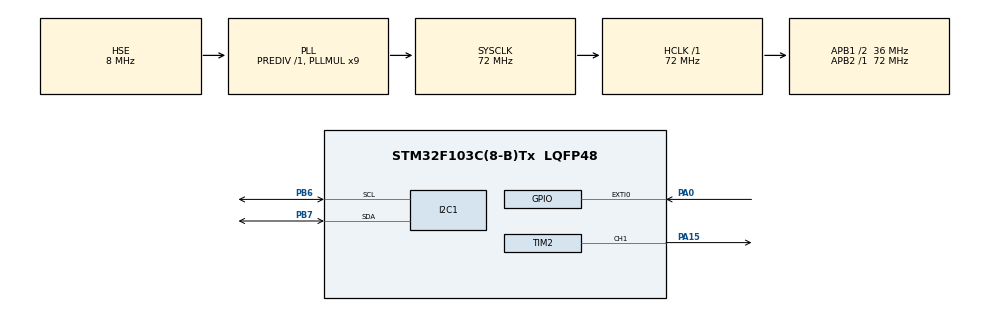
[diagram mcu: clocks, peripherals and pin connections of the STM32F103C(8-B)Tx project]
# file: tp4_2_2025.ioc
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Mcu.Family=STM32F1
RCC.PLLSourceVirtual=RCC_PLLSOURCE_HSE
PD1-OSC_OUT.Mode=HSE-External-Oscillator
NVIC.TIM1_UP_IRQn=true\:0\:0\:false\:false\:true\:false\:true
PD0-OSC_IN.Signal=RCC_OSC_IN
RCC.APB1CLKDivider=RCC_HCLK_DIV2
PA0-WKUP.GPIO_ModeDefaultEXTI=GPIO_MODE_IT_FALLING
RCC.SYSCLKSource=RCC_SYSCLKSOURCE_PLLCLK
ProjectManager.StackSize=0x400
PA0-WKUP.Signal=GPXTI0
PD1-OSC_OUT.Signal=RCC_OSC_OUT
PA13.Signal=SYS_JTMS-SWDIO
ProjectManager.TargetToolchain=STM32CubeIDE
RCC.HCLKFreq_Value=72000000
RCC.APB2TimFreq_Value=72000000
PB6.Signal=I2C1_SCL
PB6.Mode=I2C
RCC.USBFreq_Value=72000000
RCC.AHBFreq_Value=72000000
PD0-OSC_IN.Mode=HSE-External-Oscillator
board=custom
RCC.PLLMUL=RCC_PLL_MUL9
RCC.APB2Freq_Value=72000000
PA14.Mode=Serial_Wire
VP_SYS_VS_tim1.Mode=TIM1
PB7.Signal=I2C1_SDA
TIM2.Channel-PWM\ Generation1\ CH1=TIM_CHANNEL_1
TIM2.Period=999
PA13.Mode=Serial_Wire
Mcu.Name=STM32F103C(8-B)Tx
NVIC.EXTI0_IRQn=true\:5\:0\:true\:false\:true\:true\:true
RCC.SYSCLKFreq_VALUE=72000000
Mcu.Package=LQFP48
TIM2.Prescaler=71
NVIC.TimeBase=TIM1_UP_IRQn
PB7.Mode=I2C
SH.S_TIM2_CH1_ETR.0=TIM2_CH1,PWM Generation1 CH1
NVIC.TimeBaseIP=TIM1
PA14.Signal=SYS_JTCK-SWCLK
PA15.Signal=S_TIM2_CH1_ETR
ProjectManager.HeapSize=0x200
NVIC.PriorityGroup=NVIC_PRIORITYGROUP_4
RCC.APB1TimFreq_Value=72000000
PA0-WKUP.GPIO_PuPd=GPIO_PULLUP
RCC.APB1Freq_Value=36000000

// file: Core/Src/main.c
/* USER CODE BEGIN Header */
/**
  ******************************************************************************
  * @file           : main.c
  * @brief          : Main program body
  ******************************************************************************
  * @attention
  *
  * <h2><center>&copy; Copyright (c) 2025 STMicroelectronics.
  * All rights reserved.</center></h2>
  *
  * This software component is licensed by ST under BSD 3-Clause license,
  * the "License"; You may not use this file except in compliance with the
  * License. You may obtain a copy of the License at:
  *                        opensource.org/licenses/BSD-3-Clause
  *
  ******************************************************************************
  */
/* USER CODE END Header */
#include "main.h"
#include "FreeRTOS.h"
#include "task.h"
#include "queue.h"
#include "semphr.h"
#include <string.h>
#include <math.h>
#include <lcd.h>
#include "bmp280.h"
#include "stdio.h"

/* USER CODE BEGIN PM */

SemaphoreHandle_t xSemaphore_I2C;
SemaphoreHandle_t sem_btn0;

QueueHandle_t xQueue_SensorData;

// Cola para pasar datos del sensor a la tarea de LCD
typedef struct {
  float temperature;
  float pressure;
} SensorData_t;

volatile uint8_t pantalla = 0; // 0 = Temp/Presión, 1 = Setpoint/Error
const float setpoint = 26.0;
const float error_max = 10.0f;

/* USER CODE END PM */

I2C_HandleTypeDef hi2c1;

TIM_HandleTypeDef htim2;

void SystemClock_Config(void);
static void MX_GPIO_Init(void);
static void MX_I2C1_Init(void);
static void MX_TIM2_Init(void);

/* USER CODE BEGIN 0 */

// Tarea para leer el BMP280
void Task_ReadBMP280(void *pvParameters) {
	SensorData_t data;
	while (1) {
		xSemaphoreTake(xSemaphore_I2C, portMAX_DELAY);
	    BMP280_ReadTemperatureAndPressure(&data.temperature, &data.pressure);
	    xSemaphoreGive(xSemaphore_I2C);
		xQueueSend(xQueue_SensorData, &data, portMAX_DELAY);
		vTaskDelay(pdMS_TO_TICKS(1000));  // 1 segundo
	}
}

// Tarea para mostrar en el LCD y controlar LED
void Task_LCDDisplay(void *pvParameters) {
    SensorData_t data;
    char buffer1[30];
    char buffer2[30];

    static TickType_t lastPress[1] = {0};  // para PA0
    TickType_t now;

    while (1) {
        now = xTaskGetTickCount();

        // Botón PA0 con antirrebote
        if (xSemaphoreTake(sem_btn0, 0) == pdTRUE &&
            (now - lastPress[0] > pdMS_TO_TICKS(200)))
        {
            if (HAL_GPIO_ReadPin(GPIOA, GPIO_PIN_0) == GPIO_PIN_RESET) {
                pantalla ^= 1;              // cambiar pantalla
                lastPress[0] = now;        // actualizar timestamp
            }
        }

        // Esperar datos del sensor
        if (xQueueReceive(xQueue_SensorData, &data, pdMS_TO_TICKS(50))) {
            if (xSemaphoreTake(xSemaphore_I2C, portMAX_DELAY) == pdTRUE) {

                if (pantalla == 0) {
                    // Pantalla normal: Temp y Presión
                    int entero_t = (int)data.temperature;
                    int decimales_t = (int)((data.temperature - entero_t) * 100);

                    int entero_p = (int)data.pressure;
                    int decimales_p = (int)((data.pressure - entero_p) * 100);

                    snprintf(buffer1, sizeof(buffer1), "Temp: %d.%02d C", entero_t, decimales_t);
                    lcd_set_cursor(0, 0);
                    lcd_string(buffer1);

                    snprintf(buffer2, sizeof(buffer2), "Pres: %d.%02d Kpa", entero_p, decimales_p);
                    lcd_set_cursor(1, 0);
                    lcd_string(buffer2);

                    // Apagar LED en esta pantalla
                    __HAL_TIM_SET_COMPARE(&htim2, TIM_CHANNEL_1, 0);

                } else {
                    // Pantalla setpoint y error
                    float error = setpoint - data.temperature;
                    float error_abs = fabs(error);

                    int entero_sp = (int)setpoint;
                    int decimales_sp = (int)((setpoint - entero_sp) * 100);

                    int entero_error = (int)(error);
                    int decimales_error = (int)((error - entero_error) * 100 );

                    snprintf(buffer1, sizeof(buffer1), "Set: %d.%02d C     ", entero_sp, decimales_sp);
                    lcd_set_cursor(0, 0);
                    lcd_string(buffer1);

                    snprintf(buffer2, sizeof(buffer2), "Error: %d.%02d     ", abs(entero_error), abs(decimales_error));
                    lcd_set_cursor(1, 0);
                    lcd_string(buffer2);

                    // PWM inverso: menos error → más brillo, 0 error → apagado
                    float duty = 0;
                    if (error_abs == 0) {
                        duty = 0;
                    } else {
                        if (error_abs > error_max) error_abs = error_max; //Seteo un limite donde empieza a encender
                        duty = ((error_max - error_abs) / error_max) * 1000.0f;
                    }
                    __HAL_TIM_SET_COMPARE(&htim2, TIM_CHANNEL_1, (uint32_t)duty);
                }

                xSemaphoreGive(xSemaphore_I2C);
            }
        }
    }
}

void EXTI0_IRQHandler(void) {
    HAL_GPIO_EXTI_IRQHandler(GPIO_PIN_0);

    BaseType_t xHigherPriorityTaskWoken = pdFALSE;
    xSemaphoreGiveFromISR(sem_btn0, &xHigherPriorityTaskWoken);
    portYIELD_FROM_ISR(xHigherPriorityTaskWoken);
}

/* USER CODE END 0 */

int main(void)
{

  /* MCU Configuration--------------------------------------------------------*/

  /* Reset of all peripherals, Initializes the Flash interface and the Systick. */
  HAL_Init();

  /* Configure the system clock */
  SystemClock_Config();

  /* Initialize all configured peripherals */
  MX_GPIO_Init();
  MX_I2C1_Init();
  MX_TIM2_Init();
  /* USER CODE BEGIN 2 */

  BMP280_Init();
  lcd_init(&hi2c1, 0x27);
  HAL_TIM_PWM_Start(&htim2, TIM_CHANNEL_1);

  xSemaphore_I2C = xSemaphoreCreateMutex();
  sem_btn0 = xSemaphoreCreateBinary();    // <-- nuevo semáforo botón

  xQueue_SensorData = xQueueCreate(5, sizeof(SensorData_t));

  xTaskCreate(Task_ReadBMP280, "ReadBMP280", 256, NULL, 1, NULL);
  xTaskCreate(Task_LCDDisplay, "LCD", 512, NULL, 1, NULL);

  vTaskStartScheduler();
  /* USER CODE END 2 */

  /* Infinite loop */
  while (1)
  {

  }
}

void SystemClock_Config(void)
{
  RCC_OscInitTypeDef RCC_OscInitStruct = {0};
  RCC_ClkInitTypeDef RCC_ClkInitStruct = {0};

  /** Initializes the RCC Oscillators according to the specified parameters
  * in the RCC_OscInitTypeDef structure.
  */
  RCC_OscInitStruct.OscillatorType = RCC_OSCILLATORTYPE_HSE;
  RCC_OscInitStruct.HSEState = RCC_HSE_ON;
  RCC_OscInitStruct.HSEPredivValue = RCC_HSE_PREDIV_DIV1;
  RCC_OscInitStruct.HSIState = RCC_HSI_ON;
  RCC_OscInitStruct.PLL.PLLState = RCC_PLL_ON;
  RCC_OscInitStruct.PLL.PLLSource = RCC_PLLSOURCE_HSE;
  RCC_OscInitStruct.PLL.PLLMUL = RCC_PLL_MUL9;
  if (HAL_RCC_OscConfig(&RCC_OscInitStruct) != HAL_OK)
  {
    Error_Handler();
  }
  /** Initializes the CPU, AHB and APB buses clocks
  */
  RCC_ClkInitStruct.ClockType = RCC_CLOCKTYPE_HCLK|RCC_CLOCKTYPE_SYSCLK
                              |RCC_CLOCKTYPE_PCLK1|RCC_CLOCKTYPE_PCLK2;
  RCC_ClkInitStruct.SYSCLKSource = RCC_SYSCLKSOURCE_PLLCLK;
  RCC_ClkInitStruct.AHBCLKDivider = RCC_SYSCLK_DIV1;
  RCC_ClkInitStruct.APB1CLKDivider = RCC_HCLK_DIV2;
  RCC_ClkInitStruct.APB2CLKDivider = RCC_HCLK_DIV1;

  if (HAL_RCC_ClockConfig(&RCC_ClkInitStruct, FLASH_LATENCY_2) != HAL_OK)
  {
    Error_Handler();
  }
}

static void MX_I2C1_Init(void)
{

  hi2c1.Instance = I2C1;
  hi2c1.Init.ClockSpeed = 100000;
  hi2c1.Init.DutyCycle = I2C_DUTYCYCLE_2;
  hi2c1.Init.OwnAddress1 = 0;
  hi2c1.Init.AddressingMode = I2C_ADDRESSINGMODE_7BIT;
  hi2c1.Init.DualAddressMode = I2C_DUALADDRESS_DISABLE;
  hi2c1.Init.OwnAddress2 = 0;
  hi2c1.Init.GeneralCallMode = I2C_GENERALCALL_DISABLE;
  hi2c1.Init.NoStretchMode = I2C_NOSTRETCH_DISABLE;
  if (HAL_I2C_Init(&hi2c1) != HAL_OK)
  {
    Error_Handler();
  }

}

static void MX_TIM2_Init(void)
{

  TIM_MasterConfigTypeDef sMasterConfig = {0};
  TIM_OC_InitTypeDef sConfigOC = {0};

  htim2.Instance = TIM2;
  htim2.Init.Prescaler = 71;
  htim2.Init.CounterMode = TIM_COUNTERMODE_UP;
  htim2.Init.Period = 999;
  htim2.Init.ClockDivision = TIM_CLOCKDIVISION_DIV1;
  htim2.Init.AutoReloadPreload = TIM_AUTORELOAD_PRELOAD_DISABLE;
  if (HAL_TIM_PWM_Init(&htim2) != HAL_OK)
  {
    Error_Handler();
  }
  sMasterConfig.MasterOutputTrigger = TIM_TRGO_RESET;
  sMasterConfig.MasterSlaveMode = TIM_MASTERSLAVEMODE_DISABLE;
  if (HAL_TIMEx_MasterConfigSynchronization(&htim2, &sMasterConfig) != HAL_OK)
  {
    Error_Handler();
  }
  sConfigOC.OCMode = TIM_OCMODE_PWM1;
  sConfigOC.Pulse = 0;
  sConfigOC.OCPolarity = TIM_OCPOLARITY_HIGH;
  sConfigOC.OCFastMode = TIM_OCFAST_DISABLE;
  if (HAL_TIM_PWM_ConfigChannel(&htim2, &sConfigOC, TIM_CHANNEL_1) != HAL_OK)
  {
    Error_Handler();
  }
  HAL_TIM_MspPostInit(&htim2);

}

static void MX_GPIO_Init(void)
{
  GPIO_InitTypeDef GPIO_InitStruct = {0};

  /* GPIO Ports Clock Enable */
  __HAL_RCC_GPIOD_CLK_ENABLE();
  __HAL_RCC_GPIOA_CLK_ENABLE();
  __HAL_RCC_GPIOB_CLK_ENABLE();

  /*Configure GPIO pin : PA0 */
  GPIO_InitStruct.Pin = GPIO_PIN_0;
  GPIO_InitStruct.Mode = GPIO_MODE_IT_FALLING;
  GPIO_InitStruct.Pull = GPIO_PULLUP;
  HAL_GPIO_Init(GPIOA, &GPIO_InitStruct);

  /* EXTI interrupt init*/
  HAL_NVIC_SetPriority(EXTI0_IRQn, 5, 0);
  HAL_NVIC_EnableIRQ(EXTI0_IRQn);

}

 /**
  * @brief  Period elapsed callback in non blocking mode
  * @note   This function is called  when TIM1 interrupt took place, inside
  * HAL_TIM_IRQHandler(). It makes a direct call to HAL_IncTick() to increment
  * a global variable "uwTick" used as application time base.
  * @param  htim : TIM handle
  * @retval None
  */
void HAL_TIM_PeriodElapsedCallback(TIM_HandleTypeDef *htim)
{
  if (htim->Instance == TIM1) {
    HAL_IncTick();
  }
}

void Error_Handler(void)
{
  __disable_irq();
  while (1)
  {
  }
}

/************************ (C) COPYRIGHT STMicroelectronics *****END OF FILE****/
